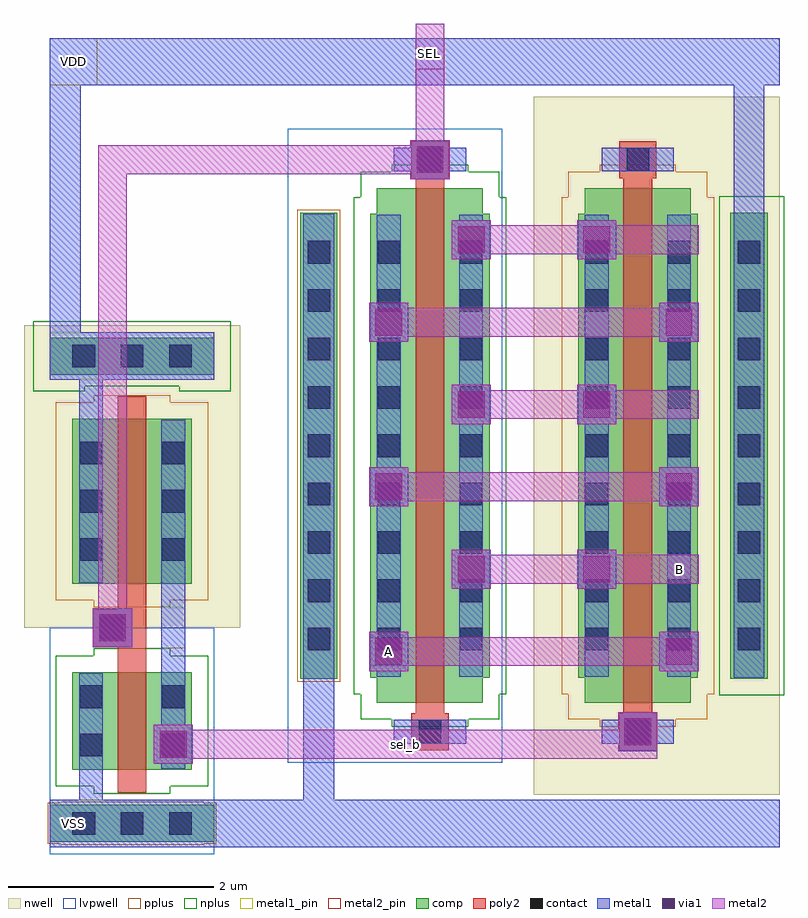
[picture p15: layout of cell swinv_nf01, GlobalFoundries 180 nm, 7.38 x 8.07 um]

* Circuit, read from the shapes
.subckt swinv_nf01 A B SEL VDD VSS sel_b
XM1 sel_b SEL VSS VSS nfet_03v3 w=0.95u l=0.28u
XM2 B SEL A VSS nfet_03v3 w=5u l=0.28u
XM3 sel_b SEL VDD VDD pfet_03v3 w=1.6u l=0.28u
XM4 A sel_b B VDD pfet_03v3 w=5u l=0.28u
.ends

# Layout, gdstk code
import gdstk
lib = gdstk.Library(unit=1e-6, precision=1e-09)
def R(c, l, rs):  # rectangles x0, y0, x1, y1
    for r in rs: c.add(gdstk.rectangle(r[:2], r[2:], *l))
def A(c, l, x, y, w, h, nx, ny, dx, dy):  # array of equal rectangles
    R(c, l, [(x+i*dx, y+j*dy, x+i*dx+w, y+j*dy+h) for i in range(nx) for j in range(ny)])
nwell = (21, 0)
comp = (22, 0)
poly2 = (30, 0)
pplus = (31, 0)
nplus = (32, 0)
contact = (33, 0)
metal1 = (34, 0)
metal1_pin = (34, 10)
via1 = (35, 0)
metal2 = (36, 0)
metal2_pin = (36, 10)
lvpwell = (204, 0)

pfet_03v3_r46qmg = lib.new_cell('pfet_03v3_R46QMG')
R(pfet_03v3_r46qmg, nwell, [(-1.01,-3.39,1.01,3.39)])
R(pfet_03v3_r46qmg, comp, [(-0.515,-2.5,0.515,-2.255), (-0.58,-2.255,0.58,2.255), (-0.515,2.255,0.515,2.5)])
R(pfet_03v3_r46qmg, poly2, [(-0.18,-2.96,0.18,-2.6), (-0.14,-2.6,0.14,2.6), (-0.18,2.6,0.18,2.96)])
R(pfet_03v3_r46qmg, pplus, [(-0.37,-2.73,0.37,-2.66), (-0.675,-2.66,0.675,-2.415), (-0.74,-2.415,0.74,2.415), (-0.675,2.415,0.675,2.66), (-0.37,2.66,0.37,2.73)])
A(pfet_03v3_r46qmg, contact, -0.51, -1.99, 0.22, 0.22, 1, 9, 0, 0.47)
A(pfet_03v3_r46qmg, contact, 0.29, -1.99, 0.22, 0.22, 1, 9, 0, 0.47)
R(pfet_03v3_r46qmg, contact, [(-0.11,-2.89,0.11,-2.67), (-0.11,2.67,0.11,2.89)])
R(pfet_03v3_r46qmg, metal1, [(-0.17,-2.895,0.17,-2.665), (-0.515,-2.245,-0.285,2.245), (0.285,-2.245,0.515,2.245), (-0.17,2.665,0.17,2.895)])

nfet_03v3_lg6zj2 = lib.new_cell('nfet_03v3_LG6ZJ2')
R(nfet_03v3_lg6zj2, comp, [(-0.515,-2.5,0.515,-2.255), (-0.58,-2.255,0.58,2.255), (-0.515,2.255,0.515,2.5)])
R(nfet_03v3_lg6zj2, poly2, [(-0.18,-2.96,0.18,-2.6), (-0.14,-2.6,0.14,2.6), (-0.18,2.6,0.18,2.96)])
R(nfet_03v3_lg6zj2, nplus, [(-0.37,-2.73,0.37,-2.66), (-0.675,-2.66,0.675,-2.415), (-0.74,-2.415,0.74,2.415), (-0.675,2.415,0.675,2.66), (-0.37,2.66,0.37,2.73)])
A(nfet_03v3_lg6zj2, contact, -0.51, -1.99, 0.22, 0.22, 1, 9, 0, 0.47)
A(nfet_03v3_lg6zj2, contact, 0.29, -1.99, 0.22, 0.22, 1, 9, 0, 0.47)
R(nfet_03v3_lg6zj2, contact, [(-0.11,-2.89,0.11,-2.67), (-0.11,2.67,0.11,2.89)])
R(nfet_03v3_lg6zj2, metal1, [(-0.17,-2.895,0.17,-2.665), (-0.515,-2.245,-0.285,2.245), (0.285,-2.245,0.515,2.245), (-0.17,2.665,0.17,2.895)])
R(nfet_03v3_lg6zj2, lvpwell, [(-0.7,-3.08,0.7,3.08)])

switch_tg_analog_nf01 = lib.new_cell('switch_tg_analog_nf01')
R(switch_tg_analog_nf01, nwell, [(2.505,-3.39,4.895,3.39)])
R(switch_tg_analog_nf01, comp, [(0.235,-2.265,0.595,2.265), (4.415,-2.265,4.775,2.265)])
R(switch_tg_analog_nf01, pplus, [(0.205,-2.295,0.625,2.295)])
R(switch_tg_analog_nf01, nplus, [(4.305,-2.425,4.935,2.425)])
A(switch_tg_analog_nf01, contact, 0.305, -1.99, 0.22, 0.22, 1, 9, 0, 0.47)
A(switch_tg_analog_nf01, contact, 4.485, -1.99, 0.22, 0.22, 1, 9, 0, 0.47)
A(switch_tg_analog_nf01, metal1, 0.905, -2.19, 0.38, 0.38, 1, 3, 0, 1.6)
A(switch_tg_analog_nf01, metal1, 3.725, -2.19, 0.38, 0.38, 1, 3, 0, 1.6)
A(switch_tg_analog_nf01, metal1, 1.705, -1.39, 0.38, 0.38, 1, 3, 0, 1.6)
A(switch_tg_analog_nf01, metal1, 2.925, -1.39, 0.38, 0.38, 1, 3, 0, 1.6)
R(switch_tg_analog_nf01, metal1, [(1.145,-2.895,1.845,-2.665), (3.165,-2.895,3.865,-2.665), (0.265,-2.255,0.565,2.255), (4.445,-2.255,4.745,2.255), (1.145,2.665,1.845,2.895), (3.165,2.665,3.865,2.895)])
R(switch_tg_analog_nf01, metal1_pin, [(0.265,-0.5,0.565,0.5), (4.445,-0.5,4.745,0.5), (1.145,2.665,1.845,2.895), (3.165,2.665,3.865,2.895)])
A(switch_tg_analog_nf01, via1, 0.965, -2.13, 0.26, 0.26, 1, 3, 0, 1.6)
A(switch_tg_analog_nf01, via1, 3.785, -2.13, 0.26, 0.26, 1, 3, 0, 1.6)
A(switch_tg_analog_nf01, via1, 1.765, -1.33, 0.26, 0.26, 1, 3, 0, 1.6)
A(switch_tg_analog_nf01, via1, 2.985, -1.33, 0.26, 0.26, 1, 3, 0, 1.6)
A(switch_tg_analog_nf01, metal2, 0.905, -2.14, 3.2, 0.28, 1, 3, 0, 1.6)
A(switch_tg_analog_nf01, metal2, 1.705, -1.34, 2.4, 0.28, 1, 3, 0, 1.6)
R(switch_tg_analog_nf01, metal2, [(0.905,-2.19,1.285,-2.14), (3.725,-2.19,4.105,-2.14), (0.905,-1.86,1.285,-1.81), (3.725,-1.86,4.105,-1.81), (1.705,-1.39,2.085,-1.34), (2.925,-1.39,3.305,-1.34), (1.705,-1.06,2.085,-1.01), (2.925,-1.06,3.305,-1.01), (0.905,-0.59,1.285,-0.54), (3.725,-0.59,4.105,-0.54), (0.905,-0.26,1.285,-0.21), (3.725,-0.26,4.105,-0.21), (1.705,0.21,2.085,0.26), (2.925,0.21,3.305,0.26), (1.705,0.54,2.085,0.59), (2.925,0.54,3.305,0.59), (0.905,1.01,1.285,1.06), (3.725,1.01,4.105,1.06), (0.905,1.34,1.285,1.39), (3.725,1.34,4.105,1.39), (1.705,1.81,2.085,1.86), (2.925,1.81,3.305,1.86), (1.705,2.14,2.085,2.19), (2.925,2.14,3.305,2.19)])
R(switch_tg_analog_nf01, metal2_pin, [(0.905,-2.14,1.285,-1.86), (3.725,-1.34,4.105,-1.06)])
R(switch_tg_analog_nf01, lvpwell, [(0.115,-3.08,2.195,3.08)])
switch_tg_analog_nf01.add(gdstk.Reference(pfet_03v3_r46qmg, (3.515,0)))
switch_tg_analog_nf01.add(gdstk.Reference(nfet_03v3_lg6zj2, (1.495,0)))
switch_tg_analog_nf01.add(gdstk.Label('G', (1.495,2.78), layer=34, texttype=10))
switch_tg_analog_nf01.add(gdstk.Label('GB', (3.515,2.78), layer=34, texttype=10))
switch_tg_analog_nf01.add(gdstk.Label('VSS', (0.415,0), layer=34, texttype=10))
switch_tg_analog_nf01.add(gdstk.Label('VDD', (4.595,0), layer=34, texttype=10))
switch_tg_analog_nf01.add(gdstk.Label('A', (1.095,-2), layer=36, texttype=10))
switch_tg_analog_nf01.add(gdstk.Label('B', (3.915,-1.2), layer=36, texttype=10))

logic_inverter_1x = lib.new_cell('logic_inverter_1x')
R(logic_inverter_1x, nwell, [(-0.25,2.13,1.85,5.07)])
R(logic_inverter_1x, comp, [(0,0.05,1.6,0.41), (0.22,0.75,1.38,1.7), (0.22,2.56,1.38,4.16), (0,4.59,1.6,4.95)])
R(logic_inverter_1x, poly2, [(0.66,0.53,0.94,1.95), (0.42,1.95,0.94,2.31), (0.66,2.31,0.94,4.38)])
R(logic_inverter_1x, pplus, [(0.105,0.02,1.495,0.03), (-0.02,0.03,1.62,0.43), (0.105,0.43,1.495,0.44), (0.43,2.33,1.17,2.4), (0.06,2.4,1.54,4.32), (0.43,4.32,1.17,4.39)])
R(logic_inverter_1x, nplus, [(0.43,0.52,1.17,0.59), (0.06,0.59,1.54,1.86), (0.43,1.86,1.17,1.93), (-0.16,4.43,0.34,4.48), (1.26,4.43,1.76,4.48), (-0.16,4.48,1.76,5.11)])
A(logic_inverter_1x, contact, 0.22, 0.12, 0.22, 0.22, 3, 2, 0.47, 4.54)
A(logic_inverter_1x, contact, 0.29, 2.78, 0.22, 0.22, 1, 3, 0, 0.47)
A(logic_inverter_1x, contact, 1.09, 2.78, 0.22, 0.22, 1, 3, 0, 0.47)
R(logic_inverter_1x, contact, [(0.29,0.88,0.51,1.1), (1.09,0.88,1.31,1.1), (0.29,1.35,0.51,1.57), (1.09,1.35,1.31,1.57), (0.49,2.02,0.71,2.24)])
R(logic_inverter_1x, metal1, [(0,0,1.6,0.46), (0.285,0.46,0.515,1.69), (1.085,0.76,1.315,4.15), (0.42,1.94,0.8,2.32), (0.285,2.57,0.515,4.54), (0,4.54,1.6,5)])
R(logic_inverter_1x, metal1_pin, [(0,0,1.6,0.46), (1.085,1.93,1.315,2.33), (0.42,1.94,0.8,2.32), (0,4.54,1.6,5)])
R(logic_inverter_1x, lvpwell, [(0,-0.07,1.6,2.13)])
logic_inverter_1x.add(gdstk.Label('IN', (0.61,2.13), layer=34, texttype=10))
logic_inverter_1x.add(gdstk.Label('OUT', (1.2,2.13), layer=34, texttype=10))
logic_inverter_1x.add(gdstk.Label('VDD', (0.8,4.77), layer=34, texttype=10))
logic_inverter_1x.add(gdstk.Label('VSS', (0.8,0.23), layer=34, texttype=10))

swinv_nf01 = lib.new_cell('swinv_nf01')
R(swinv_nf01, metal1, [(0,0,7.095,0.46), (2.465,0.46,2.765,1.9), (1.01,0.81,1.39,1.19), (5.525,0.93,5.905,1.31), (0.42,1.94,0.8,2.32), (0,4.54,0.3,7.4), (6.645,5.9,6.945,7.4), (3.505,6.49,3.885,6.87), (0,7.4,7.095,7.86)])
R(swinv_nf01, metal1_pin, [(0,0,0.46,0.46), (0,7.4,0.46,7.86)])
R(swinv_nf01, via1, [(1.07,0.87,1.33,1.13), (5.585,0.99,5.845,1.25), (0.48,2,0.74,2.26), (3.565,6.55,3.825,6.81)])
R(swinv_nf01, metal2, [(1.01,0.81,1.39,0.86), (1.01,0.86,5.905,1.14), (1.01,1.14,1.39,1.19), (5.525,1.14,5.905,1.31), (3.105,1.76,3.485,2.04), (0.42,1.94,0.8,2.32), (0.47,2.32,0.75,6.54), (5.925,2.56,6.305,2.84), (3.505,6.49,3.885,6.54), (0.47,6.54,3.885,6.82), (3.505,6.82,3.885,6.87), (3.555,6.87,3.835,8)])
R(swinv_nf01, metal2_pin, [(3.105,1.76,3.485,2.04), (5.925,2.56,6.305,2.84), (3.555,7.56,3.835,7.86)])
swinv_nf01.add(gdstk.Reference(switch_tg_analog_nf01, (2.2,3.9)))
swinv_nf01.add(gdstk.Reference(logic_inverter_1x, (0,0)))
swinv_nf01.add(gdstk.Label('VSS', (0.23,0.23), layer=34, texttype=10))
swinv_nf01.add(gdstk.Label('VDD', (0.23,7.63), layer=34, texttype=10))
swinv_nf01.add(gdstk.Label('sel_b', (3.46,1), layer=36, texttype=0))
swinv_nf01.add(gdstk.Label('SEL', (3.695,7.71), layer=36, texttype=10))
swinv_nf01.add(gdstk.Label('A', (3.295,1.9), layer=36, texttype=10))
swinv_nf01.add(gdstk.Label('B', (6.115,2.7), layer=36, texttype=10))

lib.write_gds('swinv_nf01.gds')
